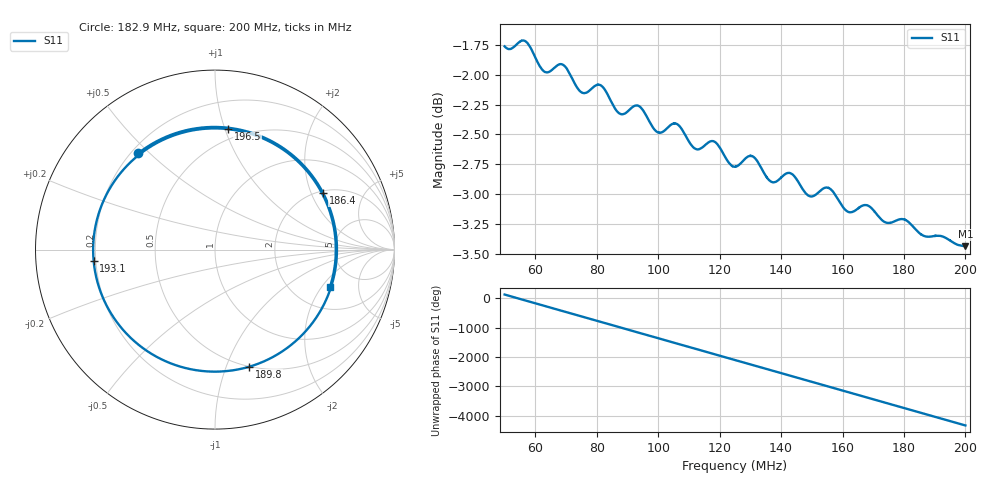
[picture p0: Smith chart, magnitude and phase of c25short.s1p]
! COPPER MOUNTAIN TECHNOLOGIES, PLANAR TR1300/1, 00071119, 20.2.2/1.0
! Date: 11/21/2023 7:02:37 PM
! Data: Format [Calibration Info]
! Freq  S11: Re/Im F1
# HZ S RI R 50
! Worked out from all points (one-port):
!   12288 points, 50 MHz to 200 MHz, reference 50 ohm
!   lowest |S11| = -3.4 dB at 200 MHz (marker M1), VSWR 5.12, Z = 155 - j121 ohm
!   |S11| at or under -10 dB: nowhere
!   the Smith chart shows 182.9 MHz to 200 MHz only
!   S11 on the Smith chart (normalised r, x): 182.9 MHz: 0.23, +0.46; 186.4 MHz: 2.08, +2.45; 189.8 MHz: 0.50, -1.21; 193.1 MHz: 0.19, -0.04; 196.5 MHz: 0.42, +1.03; 200 MHz: 3.14, -2.42
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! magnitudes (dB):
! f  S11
! 50 MHz  -1.8
! 56.74 MHz  -1.7
! 63.37 MHz  -2.0
! 68.75 MHz  -1.9
! 75.11 MHz  -2.1
! 81.67 MHz  -2.1
! 87.5 MHz  -2.3
! 93.61 MHz  -2.3
! 100.2 MHz  -2.5
! 106.3 MHz  -2.4
! 111.8 MHz  -2.6
! 118.2 MHz  -2.6
! 125 MHz  -2.8
! 130.2 MHz  -2.7
! 136.9 MHz  -2.9
! 143.8 MHz  -2.8
! 148.8 MHz  -3.0
! 155.4 MHz  -2.9
! 162.5 MHz  -3.2
! 181.3 MHz  -3.2
! 182.9 MHz  -3.3
! 186.4 MHz  -3.3
! 189.8 MHz  -3.4
! 193.1 MHz  -3.4
! 196.5 MHz  -3.4
! 200 MHz  -3.4
! 200 MHz  -3.4
! 200 MHz  -3.4
